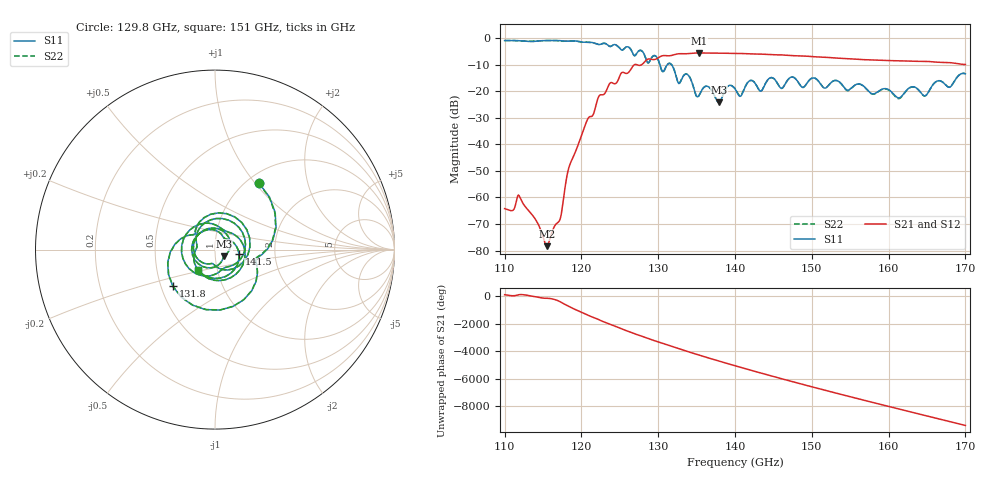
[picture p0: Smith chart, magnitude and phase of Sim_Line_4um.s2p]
! Touchstone file exported from HFSS 2020.2.4
!  File:  D:/Project/Deacon_v3/240214_MPW12_Gap_WG_Tester_D2A/Gap_WG_Tester_D2.aedt
!  Generated:  11:43:28 AM  Mar 20, 2025
!  Design:  Line
!  Project:  Gap_WG_Tester_D2
!  Setup:  Setup1
!  Solution:  Sweep
! Variables:
!  C_G = 4um
!  C_H = 0.5mm
!  Deembedding = 25.4mm
!  E_P = 133um
!  S_H1 = 260um
!  S_H2 = 0.013mm
!  S_H3 = 8um
!  S_X = 30mm
!  S_X0 = 15mm
!  S_Y = 15mm
!  S_Y0 = 7.5mm
!  TL_G = 40um
!  TL_L = 12.1467848662796mm
!  TL_W = 0.24mm
!  TR_L = 706.43026744077um
!  TR_L2 = 226.8691264263um
!  TR_L3 = 373.29154801399um
!  TR_P = 109.62537243288um
!  TR_W = 1597.2041747747um
!  TR_W2 = 282.226541747um
!  V_PBO = 20um
!  V_Pad = 40um
!  V_R = 20um
!  WG_L = 0.8255mm
!  WG_W = 1.651mm
!  th = 5um
!Data is not renormalized
# GHZ S MA
! Terminal data exported
! Port[1] = 1
! Port[2] = 2
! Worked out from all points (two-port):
!   601 points, 110 GHz to 170 GHz, reference per port
!   highest |S21| = -5.50 dB at 135.3 GHz (marker M1); lowest = -78.4 dB at 115.5 GHz (marker M2)
!   |S21| within 3 dB of the highest: 128.4 GHz to 162.3 GHz (33.9 GHz wide, 23.3 % of centre)
!   lowest |S11| = -24.1 dB at 137.9 GHz (marker M3), VSWR 1.13
!   |S11| at or under -10 dB: 130.2 GHz to 131.2 GHz (925.2 MHz wide, 0.708 % of centre); 131.8 GHz to end of sweep
!   |S22| runs from -24.1 to -0.8 dB; largest |S21 - S12| = 6e-14
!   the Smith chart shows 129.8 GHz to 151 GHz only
!   S11 on the Smith chart (normalised r, x): 129.8 GHz: 1.13, +1.05; 131.8 GHz: 0.58, -0.26; 141.5 GHz: 1.31, -0.07; 151 GHz: 0.81, -0.19
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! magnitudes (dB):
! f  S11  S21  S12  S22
! 110 GHz  -0.8  -64.2  -64.2  -0.8
! 112 GHz  -0.9  -60.0  -60.0  -0.9
! 115.5 GHz  -0.8  -78.4  -78.4  -0.8
! 117.2 GHz  -0.9  -68.4  -68.4  -0.9
! 118.3 GHz  -1.0  -49.5  -49.5  -0.9
! 120 GHz  -1.3  -36.7  -36.7  -1.5
! 123.7 GHz  -3.0  -17.0  -17.0  -3.0
! 129.8 GHz  -7.0  -7.7  -7.7  -7.1
! 130 GHz  -8.1  -7.3  -7.3  -8.1
! 131.8 GHz  -10.1  -6.4  -6.4  -10.1
! 132.6 GHz  -16.7  -5.8  -5.8  -16.5
! 133.8 GHz  -13.6  -5.8  -5.8  -13.6
! 135.3 GHz  -21.5  -5.5  -5.5  -21.7
! 136.4 GHz  -18.1  -5.5  -5.5  -18.1
! 137.9 GHz  -24.1  -5.5  -5.5  -24.1
! 140 GHz  -19.0  -5.7  -5.7  -18.9
! 141.5 GHz  -17.3  -5.8  -5.8  -17.2
! 150 GHz  -15.0  -6.9  -6.9  -15.0
! 151 GHz  -16.6  -7.0  -7.0  -16.6
! 160 GHz  -19.3  -8.4  -8.4  -19.5
! 164.7 GHz  -21.7  -8.7  -8.7  -21.7
! 170 GHz  -13.4  -9.9  -9.9  -13.3
